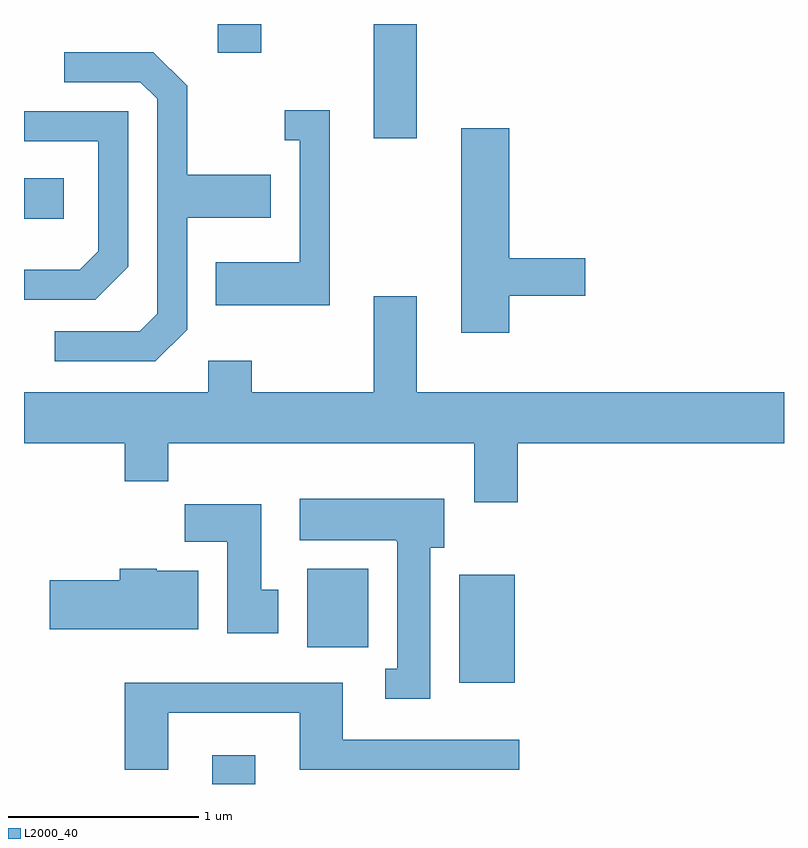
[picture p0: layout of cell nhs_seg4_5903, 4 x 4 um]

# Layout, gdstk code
import gdstk
lib = gdstk.Library(unit=1e-6, precision=1e-09)
def R(c, l, rs):  # rectangles x0, y0, x1, y1
    for r in rs: c.add(gdstk.rectangle(r[:2], r[2:], *l))
def P(c, l, *ps):  # polygons
    for p in ps: c.add(gdstk.Polygon(p, *l))
L2000_40 = (2000, 40)

nhs_seg4_5903 = lib.new_cell('nhs_seg4_5903')
R(nhs_seg4_5903, L2000_40, [(358.601,1363.982,358.829,1364.134), (359.901,1364.516,360.194,1365.084), (359.101,1364.701,359.424,1365.114), (357.611,1366.956,357.819,1367.169), (359.451,1367.381,359.679,1367.982), (358.631,1367.831,358.859,1367.982)])
P(nhs_seg4_5903, L2000_40, [(358.469,1366.374),(358.469,1366.961),(358.909,1366.961),(358.909,1367.189),(358.469,1367.189),(358.469,1367.657),(358.292,1367.834),(357.823,1367.834),(357.823,1367.676),(358.224,1367.676),(358.311,1367.589),(358.311,1366.457),(358.219,1366.364),(357.773,1366.364),(357.773,1366.206),(358.302,1366.206)],
  [(359.219,1367.529),(358.983,1367.529),(358.983,1367.371),(359.061,1367.371),(359.061,1366.729),(358.621,1366.729),(358.621,1366.501),(359.219,1366.501)],
  [(358.159,1366.704),(358.159,1367.524),(357.611,1367.524),(357.611,1367.366),(358.001,1367.366),(358.001,1366.787),(357.904,1366.689),(357.611,1366.689),(357.611,1366.531),(357.987,1366.531)],
  [(360.164,1366.551),(360.564,1366.551),(360.564,1366.749),(360.164,1366.749),(360.164,1367.434),(359.911,1367.434),(359.911,1366.356),(360.164,1366.356)],
  [(360.209,1365.776),(361.611,1365.776),(361.611,1366.044),(359.679,1366.044),(359.679,1366.549),(359.451,1366.549),(359.451,1366.044),(358.809,1366.044),(358.809,1366.209),(358.581,1366.209),(358.581,1366.044),(357.611,1366.044),(357.611,1365.776),(358.141,1365.776),(358.141,1365.576),(358.369,1365.576),(358.369,1365.776),(359.981,1365.776),(359.981,1365.466),(360.209,1365.466)],
  [(359.749,1365.226),(359.824,1365.226),(359.824,1365.484),(359.061,1365.484),(359.061,1365.266),(359.57,1365.266),(359.57,1365.26),(359.576,1365.26),(359.576,1364.589),(359.513,1364.589),(359.513,1364.431),(359.749,1364.431)],
  [(358.949,1365.004),(358.859,1365.004),(358.859,1365.454),(358.456,1365.454),(358.456,1365.256),(358.681,1365.256),(358.681,1364.776),(358.949,1364.776)],
  [(358.529,1365.104),(358.31,1365.104),(358.31,1365.114),(358.116,1365.114),(358.116,1365.054),(357.746,1365.054),(357.746,1364.796),(358.529,1364.796)],
  [(358.369,1364.356),(359.061,1364.356),(359.061,1364.056),(360.218,1364.056),(360.218,1364.214),(359.289,1364.214),(359.289,1364.514),(358.141,1364.514),(358.141,1364.056),(358.369,1364.056)])

lib.write_gds('nhs_seg4_5903.gds')
